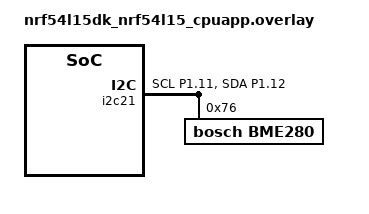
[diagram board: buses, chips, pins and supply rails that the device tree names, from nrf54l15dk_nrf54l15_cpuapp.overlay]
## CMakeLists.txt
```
# SPDX-License-Identifier: Apache-2.0

cmake_minimum_required(VERSION 3.20.0)
find_package(Zephyr REQUIRED HINTS $ENV{ZEPHYR_BASE})
project(shell_simple_test)

target_sources(app PRIVATE src/main.c )
```

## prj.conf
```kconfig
CONFIG_PRINTK=y
CONFIG_SHELL=y
CONFIG_SHELL_BACKEND_SERIAL=y
CONFIG_GPIO=y
CONFIG_I2C=y
CONFIG_I2C_SHELL=y
```

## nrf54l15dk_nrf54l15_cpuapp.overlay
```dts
// To get started, press Ctrl+Space to bring up the completion menu and view the available nodes.

// You can also use the buttons in the sidebar to perform actions on nodes.
// Actions currently available include:

// * Enabling / disabling the node
// * Adding the bus to a bus
// * Removing the node
// * Connecting ADC channels

// For more help, browse the DeviceTree documentation at https: //docs.zephyrproject.org/latest/guides/dts/index.html
// You can also visit the nRF DeviceTree extension documentation at https: //docs.nordicsemi.com/bundle/nrf-connect-vscode/page/guides/ncs_configure_app.html#devicetree-support-in-the-extension





&i2c21 {
	status = "okay";
	pinctrl-0 = <&i2c21_default>;
	pinctrl-names = "default";
	bme280@76 {
		compatible = "bosch,bme280";
		reg = <0x76>;
	};
};

&pinctrl {
	i2c21_default: i2c21_default {

		group2 {
			psels = <NRF_PSEL(TWIM_SCL, 1, 11)>, <NRF_PSEL(TWIM_SDA, 1, 12)>;
			bias-pull-up;
		};
	};
};
```

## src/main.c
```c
#include <zephyr/drivers/gpio.h>
#include <zephyr/kernel.h>
#include <zephyr/shell/shell.h>

void main(void) {
    printk("Hello World! %s\n", CONFIG_BOARD);
    k_msleep(1000);
    printk("Hello World! %s\n", CONFIG_BOARD);
}
```
